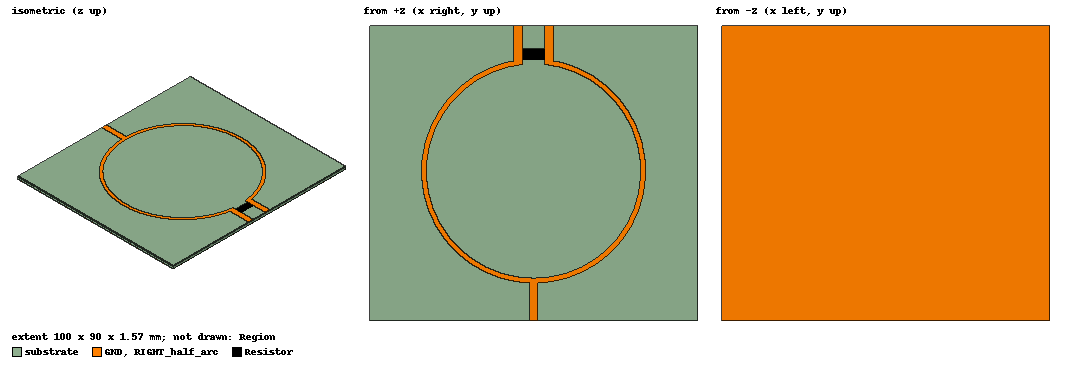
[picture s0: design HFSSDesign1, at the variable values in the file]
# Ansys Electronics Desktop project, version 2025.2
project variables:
  $R_pos = 26mm
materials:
  vacuum: permittivity=1
  copper: permeability=0.999991 conductivity=58000000
  FR4_epoxy: permittivity=4.4 dielectric_loss_tangent=0.02
  air: permittivity=1.0006 permeability=1.0000004
  FR4_epoxy_KB6164: permittivity=4.6 dielectric_loss_tangent=0.02

design HFSSDesign1 (HFSS, HFSS Terminal Network, model units mm)
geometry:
  substrate [FR4_epoxy_KB6164] = box(corner=(-50mm, 36.375mm, 0mm), size=(100mm, -90mm, 1.5mm))
  Resistor = rectangle(corner=(-3.5mm, $R_pos, 1.5mm), x_size=7mm, y_size=3.5mm)
  Resistor.move(0mm, -0.125mm, 0mm)
  INPUT = rectangle(corner=(-1.35mm, -53.624mm, 1.535mm), z_size=-1.535mm, x_size=2.7mm)
  OUT1_gate = rectangle(corner=(6.2mm, 36.25mm, 1.535mm), z_size=-1.535mm, x_size=-2.7mm)
  OUT2_gate = rectangle(corner=(-3.5mm, 36.25mm, 1.535mm), z_size=-1.535mm, x_size=-2.7mm)
  GND [copper] = rectangle(corner=(-50mm, 36.375mm, 0mm), x_size=100mm, y_size=-90mm)
  GND.thicken(0.035mm)
  point arc_ref = (0mm, -8mm, 1.5mm)
  left_half_arc1 = polyline(z=1.535mm, xy in mm: (-3.5, 26) (-34.134725, -9.7523044) (7.7271523e-14, -42.179672), AngularArc from point 0 over 3 centre=(0mm, -8mm, 1.535mm) angle=174.12261deg plane=XY)
  Polyline10 = polyline(z=1.535mm, xy in mm: (-3.5, 24.5) (-32.640905, -9.7525206) (-1.8030022e-13, -40.687918), AngularArc from point 0 over 3 centre=(0mm, -8mm, 1.535mm) angle=173.85337deg plane=XY)
  Polyline11 = polyline((0mm, -40.687918mm, 1.535mm) (0mm, -42.179672mm, 1.535mm))
  Polyline12 = polyline((-3.5mm, 26mm, 1.535mm) (-3.5mm, 24.5mm, 1.535mm))
  left_half_arc1.unite(Polyline10, Polyline11, Polyline12)
  left_half_arc1.cover_lines()
  left_half_arc1.thicken(0.035mm)
  left_half_arc1.move(0mm, 0mm, -0.035mm)
  RIGHT_half_arc [copper] = left_half_arc1.duplicate_mirror(point=(0mm, -41.5mm, 0mm), normal=(-1mm, 0mm, 0mm))
  INPUT1 = rectangle(corner=(-1.35mm, (-70+16.376) mm, 1.5mm), x_size=2.7mm, y_size=12mm)
  INPUT1.thicken(0.035mm)
  OUT1 = polyline(z=1.5mm, xy in mm: (-4.95, 27.5) (-4.93, 27.29) (-3.5, 27.5) (-4.95, 27.5), closed, covered)
  Output2 = rectangle(corner=(-3.5mm, (27.5-2.25) mm, 1.5mm), x_size=-2.7mm, y_size=11mm)
  OUT1.unite(Output2)
  OUT1.thicken(0.035mm)
  OUT5 = polyline(z=1.5mm, xy in mm: (-4.95, 27.5) (-4.93, 27.29) (-3.5, 27.5) (-4.95, 27.5), closed, covered)
  Output3 = rectangle(corner=(-3.5mm, (27.5-2.25) mm, 1.5mm), x_size=-2.7mm, y_size=11mm)
  OUT5.unite(Output3)
  OUT2 = OUT5.duplicate_mirror(point=(0mm, 28.375mm, 1.5mm), normal=(1mm, 0mm, 0mm))
  OUT5.delete()
  OUT2.thicken(0.035mm)
  RIGHT_half_arc.unite(INPUT1, left_half_arc1, OUT1, OUT2)
  Region [air] = region(absolute_offset=60mm on all sides)
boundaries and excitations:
  LumpRLC1: Lumped RLC Objects=Resistor CurrentLine{(-3.5, 27.625, 1.5) -> (3.5, 27.625, 1.5)} RLC_Type=Serial Resistance=100ohm
  1: Lumped Port Objects=INPUT LumpedPortType=Modal Modes{Mode1{IntLine{(0, -53.624, 0) -> (0, -53.624, 1.535)} CharImp=Zpi RenormImp=50ohm}} Impedance=50ohm
  2: Lumped Port Objects=OUT1_gate LumpedPortType=Modal Modes{Mode1{IntLine{(4.85, 36.25, 0) -> (4.85, 36.25, 1.535)} CharImp=Zpi RenormImp=50ohm}} Impedance=50ohm
  3: Lumped Port Objects=OUT2_gate LumpedPortType=Modal Modes{Mode1{IntLine{(-4.85, 36.25, 0) -> (-4.85, 36.25, 1.535)} CharImp=Zpi RenormImp=50ohm}} Impedance=50ohm
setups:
  Setup1: HfssDriven Frequency=450MHz MaxDeltaS=0.02 MaximumPasses=10 MinimumPasses=1 MinimumConvergedPasses=1 PercentRefinement=30 BasisOrder=1 PortAccuracy=2 DrivenSolverType="Direct Solver"
    sweep Sweep: 300MHz to 600MHz, 31 points; Type=Interpolating SaveFields InterpTolerance=0.5 InterpMaxSolns=250 PassivityErrorTolerance=0.0001
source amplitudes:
  1:1: 1V 0deg
  2:1, 3:1: 0V 0deg
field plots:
  Mag_E1: E Field on Setup1 : LastAdaptive at Freq=0.45GHz Phase=0deg
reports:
  Terminal S Parameter Plot1: dB(St(1,1)), dB(St(2,1)), dB(St(3,1)), dB(St(2,2)), dB(St(3,3)) vs Freq on Setup1 : Sweep
